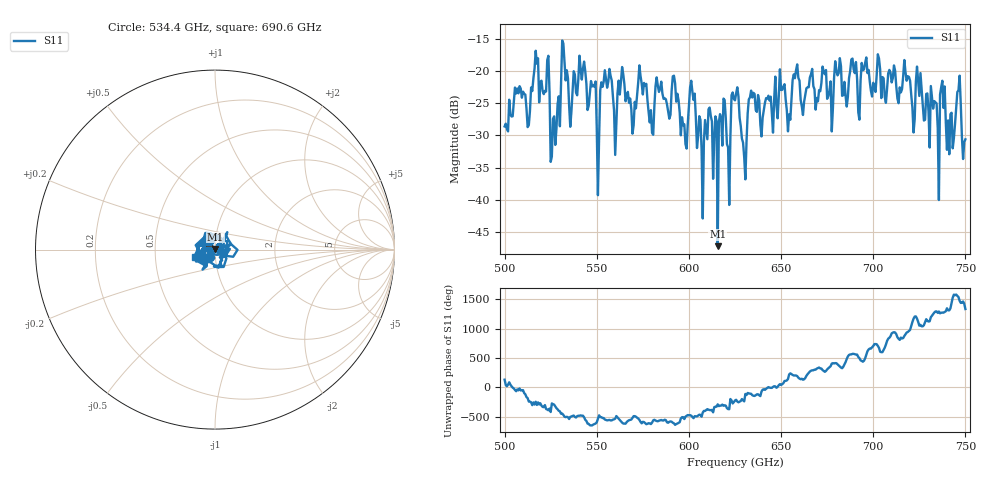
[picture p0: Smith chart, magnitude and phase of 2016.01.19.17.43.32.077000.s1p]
!Created with skrf (http://scikit-rf.org).
# GHz S RI R 50.0
!freq ReS11 ImS11
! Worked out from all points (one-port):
!   401 points, 500 GHz to 750 GHz, reference 50 ohm
!   lowest |S11| = -47.2 dB at 615.6 GHz (marker M1), VSWR 1.01, Z = 50.1 + j0.416 ohm
!   |S11| at or under -10 dB: start of sweep to end of sweep
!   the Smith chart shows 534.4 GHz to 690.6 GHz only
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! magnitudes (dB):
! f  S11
! 500 GHz  -28.6
! 513.1 GHz  -28.4
! 516.9 GHz  -16.9
! 523.1 GHz  -18.3
! 526.2 GHz  -27.4
! 531.2 GHz  -15.3
! 548.1 GHz  -22.2
! 550.6 GHz  -39.3
! 553.8 GHz  -21.7
! 560 GHz  -33.0
! 562.5 GHz  -23.7
! 570 GHz  -28.5
! 574.4 GHz  -22.0
! 579.4 GHz  -26.1
! 593.8 GHz  -23.6
! 615.6 GHz  -47.2
! 618.1 GHz  -31.6
! 621.2 GHz  -31.9
! 625 GHz  -24.6
! 630 GHz  -33.4
! 633.8 GHz  -23.1
! 656.2 GHz  -21.4
! 687.5 GHz  -20.0
! 718.8 GHz  -20.8
! 737.5 GHz  -21.5
! 742.5 GHz  -26.5
! 746.2 GHz  -23.0
! 750 GHz  -30.6
